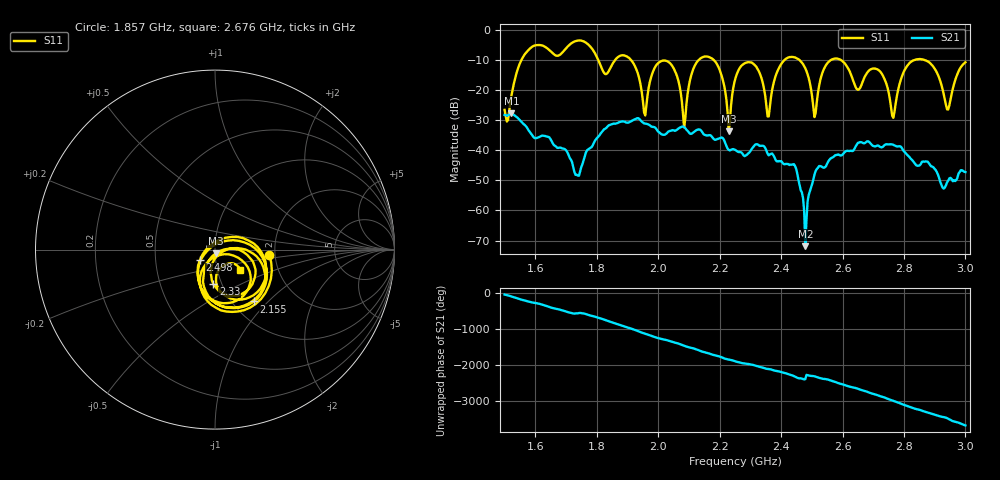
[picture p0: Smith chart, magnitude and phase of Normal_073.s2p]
# HZ S RI R 50
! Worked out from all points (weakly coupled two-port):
!   404 points, 1.5 GHz to 3 GHz, reference 50 ohm
!   highest |S21| = -27.78 dB at 1.522 GHz (marker M1); lowest = -71.9 dB at 2.479 GHz (marker M2)
!   lowest |S11| = -33.7 dB at 2.23 GHz (marker M3), VSWR 1.04, Z = 50.4 - j2.04 ohm
!   |S11| at or under -10 dB: 1.911 GHz to 2.132 GHz (220.8 MHz wide, 10.9 % of centre); 2.181 GHz to 2.411 GHz (230.7 MHz wide, 10 % of centre); 2.594 GHz to 2.835 GHz (240.6 MHz wide, 8.86 % of centre) (the widest 3 of 7)
!   S12 and S22 are empty: the file has one direction only
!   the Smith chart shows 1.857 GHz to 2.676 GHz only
!   S11 on the Smith chart (normalised r, x): 1.857 GHz: 1.86, -0.11; 2.155 GHz: 1.25, -0.83; 2.33 GHz: 0.91, -0.36; 2.498 GHz: 0.84, -0.10; 2.676 GHz: 1.29, -0.30
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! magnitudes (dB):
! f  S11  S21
! 1.5 GHz  -26.6  -28.3
! 1.522 GHz  -21.8  -27.8
! 1.586 GHz  -5.9  -34.5
! 1.753 GHz  -3.7  -44.7
! 1.857 GHz  -10.4  -31.2
! 1.958 GHz  -28.4  -31.2
! 2.002 GHz  -10.8  -34.0
! 2.084 GHz  -32.4  -32.3
! 2.155 GHz  -8.8  -35.0
! 2.23 GHz  -33.7  -39.9
! 2.252 GHz  -15.9  -40.0
! 2.33 GHz  -14.3  -38.6
! 2.36 GHz  -28.8  -41.7
! 2.408 GHz  -10.3  -44.6
! 2.479 GHz  -12.8  -71.9
! 2.498 GHz  -19.7  -52.3
! 2.501 GHz  -22.3  -51.2
! 2.676 GHz  -14.9  -37.3
! 2.751 GHz  -21.0  -38.1
! 2.859 GHz  -9.8  -43.8
! 2.944 GHz  -26.4  -50.1
! 3 GHz  -10.8  -47.2
